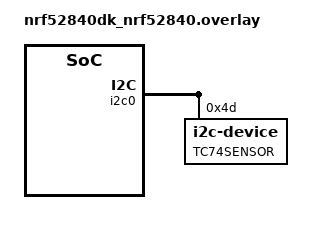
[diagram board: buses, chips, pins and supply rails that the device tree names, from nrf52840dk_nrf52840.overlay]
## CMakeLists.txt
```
cmake_minimum_required(VERSION 3.20.0)
find_package(Zephyr REQUIRED HINTS $ENV{ZEPHYR_BASE})

project(thermalcontrolproject)

target_sources(app PRIVATE 
    src/main.c
    src/uartcomm.c
    src/rtdb.c
    src/controller.c
)

target_include_directories(app PRIVATE src)
```

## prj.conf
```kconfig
# Habilita o subsistema I²C genérico
CONFIG_I2C=y

# Habilita console via UART (polling API)
CONFIG_UART_CONSOLE=y

CONFIG_PRINTK=y

# GPIO (para botões e LEDs)
CONFIG_GPIO=y
```

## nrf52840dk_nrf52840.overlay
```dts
&i2c0 {
    tc74sensor: tc74sensor@4D{
        compatible = "i2c-device";
        reg = < 0x4D >;
        label = "TC74SENSOR";
    };
};
```

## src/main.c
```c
/**
 * @file main.c
 * @brief Thermal Process Controller (versão monolítica)
 *
 * @details
 *   - Botões: liga/desliga sistema, inc/dec setpoint (atualiza RTDB)
 *   - LEDs: indicam estado ON/OFF, “normal”, “baixo” ou “alto” comparando current_temp x setpoint
 *   - Sensor TC74A0 via I²C: escreve comando RTR (0x00) e lê 1 byte (temperatura em °C), atualiza RTDB
 *   - Controlador ON/OFF: liga/desliga MOSFET (p1.12) conforme histerese ±1°C sobre setpoint
 *   - UART: permite consultar current_temp e mudar max_temp/min_temp/sampling rate/on-off via comandos “#…!”
 *
 *   Este ficheiro inicializa todas as tarefas (threads) do sistema:
 *     - UART
 *     - Controlo de botões
 *     - Controlo de LEDs
 *     - Leitura do sensor I²C
 *     - Controlador ON/OFF
 *
 * @author Nuno Tomás Gomes [98807] / Vasco Pestana [88827]
 * @date 04/06/2025
 */

 #include <zephyr/kernel.h>
 #include <zephyr/device.h>
 #include <zephyr/devicetree.h>
 #include <zephyr/drivers/gpio.h>
 #include <zephyr/drivers/i2c.h>
 #include <zephyr/drivers/pwm.h>
 #include <zephyr/sys/printk.h>
 
 #include "rtdb.h"
 #include "uartcomm.h"
 #include "controller.h"
 
 #define BTN_NODE_ONOFF   DT_ALIAS(sw0)
 #define BTN_NODE_INC     DT_ALIAS(sw1)
 #define BTN_NODE_MENU    DT_ALIAS(sw2)
 #define BTN_NODE_DEC     DT_ALIAS(sw3)
 
 #define BTN_ONOFF_DEV    DT_GPIO_CTLR(BTN_NODE_ONOFF, gpios)
 #define BTN_ONOFF_PIN    DT_GPIO_PIN(BTN_NODE_ONOFF, gpios)
 #define BTN_ONOFF_FLAGS  (DT_GPIO_FLAGS(BTN_NODE_ONOFF, gpios) | GPIO_INPUT)
 
 #define BTN_INC_DEV      DT_GPIO_CTLR(BTN_NODE_INC, gpios)
 #define BTN_INC_PIN      DT_GPIO_PIN(BTN_NODE_INC, gpios)
 #define BTN_INC_FLAGS    (DT_GPIO_FLAGS(BTN_NODE_INC, gpios) | GPIO_INPUT)
 
 #define BTN_MENU_DEV     DT_GPIO_CTLR(BTN_NODE_MENU, gpios)
 #define BTN_MENU_PIN     DT_GPIO_PIN(BTN_NODE_MENU, gpios)
 #define BTN_MENU_FLAGS   (DT_GPIO_FLAGS(BTN_NODE_MENU, gpios) | GPIO_INPUT)
 
 #define BTN_DEC_DEV      DT_GPIO_CTLR(BTN_NODE_DEC, gpios)
 #define BTN_DEC_PIN      DT_GPIO_PIN(BTN_NODE_DEC, gpios)
 #define BTN_DEC_FLAGS    (DT_GPIO_FLAGS(BTN_NODE_DEC, gpios) | GPIO_INPUT)
 
 #define DEBOUNCE_MS  50  /**< Tempo de debounce para botões (ms) */
 
 /* --------------------------------------------------------------------------
  * Callbacks de GPIO e timestamps para debounce
  * -------------------------------------------------------------------------- */
 static struct gpio_callback cb_onoff;  /**< Callback handler para SW0 (on/off) */
 static struct gpio_callback cb_inc;    /**< Callback handler para SW1 (+setpoint) */
 static struct gpio_callback cb_menu;   /**< Callback handler para SW2 (exibe menu) */
 static struct gpio_callback cb_dec;    /**< Callback handler para SW3 (-setpoint) */
 
 /**
  * @brief Imprime o menu de uso na consola (quando SW2 é pressionado)
  *
  * Detalha quais botões físicos estão associados a cada função e a convenção dos LEDs.
  */
 static void print_menu(void)
 {
     printk("\n"
            "============================================\n"
            "      CONTROLE TÉRMICO – MENU DE USO\n"
            "============================================\n"
            " Botões Físicos (painel do nRF52840DK):\n"
            "   • SW0 (P0.11): alterna sistema ligado/desligado\n"
            "   • SW1 (P0.12): incrementa setpoint (+1 °C)\n"
            "   • SW2 (P0.24): exibe este menu de ajuda\n"
            "   • SW3 (P0.25): decrementa setpoint (-1 °C)\n"
            "\n"
            " LEDs (indicadores de estado):\n"
            "   • LED0 (P0.13): indica se o sistema está ligado (LED aceso = ON)\n"
            "   • LED1 (P0.14): TEMPERATURA NORMAL (|cur – sp| ≤ 2 °C)\n"
            "   • LED2 (P0.15): TEMPERATURA ABAIXO (cur < sp – 2 °C)\n"
            "   • LED3 (P0.16): TEMPERATURA ACIMA (cur > sp + 2 °C)\n"
            "\n"
            " Comandos UART (115200, 8, n, 1):\n"
            "   • #MxxxYYY! → define max_temp (xxx = 0..999) e envia ack\n"
            "   • #mxxxYYY! → define min_temp (xxx = 0..999) e envia ack\n"
            "   • #C!       → consulta current_temp (responde #cXXXYYY!)\n"
            "   • #E0yyy!   → liga sistema e envia ack\n"
            "   • #E1yyy!   → desliga sistema e envia ack\n"
            "   • #RxxxxYYY!→ define sampling rate em ms (0000..9999)\n"
            "   • #r!       → consulta sampling rate (responde #sXXXXYYY!)\n"
            "   • #S…!      → define parâmetros do controlador (stub) e envia ack\n"
            "\n"
            " Use os botões para controlar ON/OFF e ajustar setpoint.\n"
            "============================================\n");
 }
 
 /**
  * @brief Callback do botão SW0 (ON/OFF) com lógica de debounce
  *
  * @param dev  Ponteiro para o dispositivo GPIO (não utilizado diretamente)
  * @param cb   Ponteiro para a estrutura de callback (não utilizado dentro)
  * @param pins Máscara de pinos que dispararam a interrupção (não usado)
  *
  * Alterna o valor booleano de system_on na RTDB e imprime estado atual.
  */
 static void onoff_pressed(const struct device *dev, struct gpio_callback *cb, uint32_t pins)
 {
     ARG_UNUSED(dev); ARG_UNUSED(cb); ARG_UNUSED(pins);
 
     /* Debounce: apenas aceita evento se passou mais de DEBOUNCE_MS desde o último */
     static int64_t last_onoff = 0;
     int64_t now = k_uptime_get();
     if (now - last_onoff < DEBOUNCE_MS) {
         return;
     }
     last_onoff = now;
 
     bool on = !rtdb_get_system_on();
     rtdb_set_system_on(on);
     printk("\n[Botão SW0] Sistema agora: %s\n", on ? "ON" : "OFF");
 }
 
 /**
  * @brief Callback do botão SW1 (incrementa setpoint) com debounce e verificação de max_temp
  *
  * @param dev  Ponteiro para o dispositivo GPIO (não utilizado diretamente)
  * @param cb   Ponteiro para a estrutura de callback (não utilizado dentro)
  * @param pins Máscara de pinos que dispararam a interrupção (não usado)
  *
  * Incrementa o setpoint em 1°C e impede ultrapassar max_temp. Informa via printk.
  */
 static void inc_pressed(const struct device *dev, struct gpio_callback *cb, uint32_t pins)
 {
     ARG_UNUSED(dev); ARG_UNUSED(cb); ARG_UNUSED(pins);
 
     /* Debounce */
     static int64_t last_inc = 0;
     int64_t now = k_uptime_get();
     if (now - last_inc < DEBOUNCE_MS) {
         return;
     }
     last_inc = now;
 
     int16_t tentativa = rtdb_get_setpoint() + 1;
     rtdb_set_setpoint(tentativa);
 
     int16_t real = rtdb_get_setpoint();
     int16_t mx   = rtdb_get_max_temp();
 
     if (real >= mx && tentativa > mx) {
         printk("[Botão SW1] Temperatura máxima atingida (%d °C)\n", mx);
     } else {
         printk("[Botão SW1] Setpoint incrementado para %d °C\n", real);
     }
 }
 
 /**
  * @brief Callback do botão SW2 (imprime menu) com debounce
  *
  * @param dev  Ponteiro para o dispositivo GPIO (não utilizado diretamente)
  * @param cb   Ponteiro para a estrutura de callback (não utilizado dentro)
  * @param pins Máscara de pinos que dispararam a interrupção (não usado)
  *
  * Chama a função print_menu() para mostrar instruções na consola.
  */
 static void menu_pressed(const struct device *dev, struct gpio_callback *cb, uint32_t pins)
 {
     ARG_UNUSED(dev); ARG_UNUSED(cb); ARG_UNUSED(pins);
 
     /* Debounce */
     static int64_t last_menu = 0;
     int64_t now = k_uptime_get();
     if (now - last_menu < DEBOUNCE_MS) {
         return;
     }
     last_menu = now;
 
     print_menu();
 }
 
 /**
  * @brief Callback do botão SW3 (decrementa setpoint) com debounce e verificação de min_temp
  *
  * @param dev  Ponteiro para o dispositivo GPIO (não utilizado diretamente)
  * @param cb   Ponteiro para a estrutura de callback (não utilizado dentro)
  * @param pins Máscara de pinos que dispararam a interrupção (não usado)
  *
  * Decrementa o setpoint em 1°C e impede descer abaixo de min_temp. Informa via printk.
  */
 static void dec_pressed(const struct device *dev, struct gpio_callback *cb, uint32_t pins)
 {
     ARG_UNUSED(dev); ARG_UNUSED(cb); ARG_UNUSED(pins);
 
     /* Debounce */
     static int64_t last_dec = 0;
     int64_t now = k_uptime_get();
     if (now - last_dec < DEBOUNCE_MS) {
         return;
     }
     last_dec = now;
 
     int16_t tentativa = rtdb_get_setpoint() - 1;
     rtdb_set_setpoint(tentativa);
 
     int16_t real = rtdb_get_setpoint();
     int16_t mi   = rtdb_get_min_temp();
 
     if (real <= mi && tentativa < mi) {
         printk("[Botão SW3] Temperatura mínima atingida (%d °C)\n", mi);
     } else {
         printk("[Botão SW3] Setpoint decrementado para %d °C\n", real);
     }
 }
 
 /**
  * @brief Inicializa todos os botões (SW0..SW3) com configurações de GPIO e callbacks
  *
  * Configura cada botão como entrada e ativa interrupção no flanco de subida. Liga callbacks
  * onoff_pressed, inc_pressed, menu_pressed e dec_pressed.
  */
 void button_ctrl_init(void)
 {
     const struct device *dev;
 
     /* --- SW0 (ON/OFF) --- */
     dev = DEVICE_DT_GET(BTN_ONOFF_DEV);
     __ASSERT(dev != NULL, "GPIO device for SW0 not found");
     gpio_pin_configure(dev, BTN_ONOFF_PIN, BTN_ONOFF_FLAGS);
     gpio_pin_interrupt_configure(dev, BTN_ONOFF_PIN, GPIO_INT_EDGE_TO_ACTIVE);
     gpio_init_callback(&cb_onoff, onoff_pressed, BIT(BTN_ONOFF_PIN));
     gpio_add_callback(dev, &cb_onoff);
 
     /* --- SW1 (incrementa setpoint) --- */
     dev = DEVICE_DT_GET(BTN_INC_DEV);
     __ASSERT(dev != NULL, "GPIO device for SW1 not found");
     gpio_pin_configure(dev, BTN_INC_PIN, BTN_INC_FLAGS);
     gpio_pin_interrupt_configure(dev, BTN_INC_PIN, GPIO_INT_EDGE_TO_ACTIVE);
     gpio_init_callback(&cb_inc, inc_pressed, BIT(BTN_INC_PIN));
     gpio_add_callback(dev, &cb_inc);
 
     /* --- SW2 (imprime menu) --- */
     dev = DEVICE_DT_GET(BTN_MENU_DEV);
     __ASSERT(dev != NULL, "GPIO device for SW2 not found");
     gpio_pin_configure(dev, BTN_MENU_PIN, BTN_MENU_FLAGS);
     gpio_pin_interrupt_configure(dev, BTN_MENU_PIN, GPIO_INT_EDGE_TO_ACTIVE);
     gpio_init_callback(&cb_menu, menu_pressed, BIT(BTN_MENU_PIN));
     gpio_add_callback(dev, &cb_menu);
 
     /* --- SW3 (decrementa setpoint) --- */
     dev = DEVICE_DT_GET(BTN_DEC_DEV);
     __ASSERT(dev != NULL, "GPIO device for SW3 not found");
     gpio_pin_configure(dev, BTN_DEC_PIN, BTN_DEC_FLAGS);
     gpio_pin_interrupt_configure(dev, BTN_DEC_PIN, GPIO_INT_EDGE_TO_ACTIVE);
     gpio_init_callback(&cb_dec, dec_pressed, BIT(BTN_DEC_PIN));
     gpio_add_callback(dev, &cb_dec);
 
     printk("[Init] Button control (SW0, SW1, SW2, SW3)\n");
 }
 
 /* =========================
  *  ===== LED Control =====
  * =========================
 */
 
 #define LED_NODE_ONOFF    DT_ALIAS(led0)
 #define LED_NODE_NORMAL   DT_ALIAS(led1)
 #define LED_NODE_LOW      DT_ALIAS(led2)
 #define LED_NODE_HIGH     DT_ALIAS(led3)
 
 static K_THREAD_STACK_DEFINE(led_stack, 1024);  
 static struct k_thread led_thread;               
 
 /**
  * @brief Tarefa que atualiza o estado dos LEDs em loop contínuo
  *
  * - LED0: indica se system_on está ativo
  * - LED1: temperatura “normal” (|cur – sp| ≤ 2°C)
  * - LED2: temperatura “abaixo” (cur < sp – 2°C)
  * - LED3: temperatura “acima” (cur > sp + 2°C)
  *
  * Esta função lê periodicamente (a cada 500 ms) os valores na RTDB:
  *   - system_on
  *   - current_temp
  *   - setpoint
  *
  * E define os pinos GPIO correspondentes para acender/apagar cada LED.
  *
  * @param p1  Não utilizado
  * @param p2  Não utilizado
  * @param p3  Não utilizado
  */
 static void led_task(void *p1, void *p2, void *p3)
 {
     ARG_UNUSED(p1); ARG_UNUSED(p2); ARG_UNUSED(p3);
 
     const struct device *d_onoff  = DEVICE_DT_GET(DT_GPIO_CTLR(LED_NODE_ONOFF, gpios));
     const struct device *d_normal = DEVICE_DT_GET(DT_GPIO_CTLR(LED_NODE_NORMAL, gpios));
     const struct device *d_low    = DEVICE_DT_GET(DT_GPIO_CTLR(LED_NODE_LOW, gpios));
     const struct device *d_high   = DEVICE_DT_GET(DT_GPIO_CTLR(LED_NODE_HIGH, gpios));
 
     __ASSERT(device_is_ready(d_onoff),  "LED_ONOFF não pronto");
     __ASSERT(device_is_ready(d_normal), "LED_NORMAL não pronto");
     __ASSERT(device_is_ready(d_low),    "LED_LOW não pronto");
     __ASSERT(device_is_ready(d_high),   "LED_HIGH não pronto");
 
     gpio_pin_configure(d_onoff,  DT_GPIO_PIN(LED_NODE_ONOFF, gpios),
                        GPIO_OUTPUT_INACTIVE | DT_GPIO_FLAGS(LED_NODE_ONOFF, gpios));
     gpio_pin_configure(d_normal, DT_GPIO_PIN(LED_NODE_NORMAL, gpios),
                        GPIO_OUTPUT_INACTIVE | DT_GPIO_FLAGS(LED_NODE_NORMAL, gpios));
     gpio_pin_configure(d_low,    DT_GPIO_PIN(LED_NODE_LOW, gpios),
                        GPIO_OUTPUT_INACTIVE | DT_GPIO_FLAGS(LED_NODE_LOW, gpios));
     gpio_pin_configure(d_high,   DT_GPIO_PIN(LED_NODE_HIGH, gpios),
                        GPIO_OUTPUT_INACTIVE | DT_GPIO_FLAGS(LED_NODE_HIGH, gpios));
 
     for (;;) {
         bool on = rtdb_get_system_on();
         int16_t cur = rtdb_get_current_temp();
         int16_t sp  = rtdb_get_setpoint();
 
         /* LED0: sistema ON/OFF */
         gpio_pin_set(d_onoff, DT_GPIO_PIN(LED_NODE_ONOFF, gpios), (int)on);
 
         if (!on) {
             /* se está desligado, todos os outros LEDs apagam */
             gpio_pin_set(d_normal, DT_GPIO_PIN(LED_NODE_NORMAL, gpios), 0);
             gpio_pin_set(d_low,    DT_GPIO_PIN(LED_NODE_LOW, gpios),    0);
             gpio_pin_set(d_high,   DT_GPIO_PIN(LED_NODE_HIGH, gpios),   0);
         } else {
             if (cur < sp - 2) {
                 /* temperatura muito baixa */
                 gpio_pin_set(d_low,    DT_GPIO_PIN(LED_NODE_LOW, gpios),    1);
                 gpio_pin_set(d_normal, DT_GPIO_PIN(LED_NODE_NORMAL, gpios), 0);
                 gpio_pin_set(d_high,   DT_GPIO_PIN(LED_NODE_HIGH, gpios),   0);
             } else if (cur > sp + 2) {
                 /* temperatura muito alta */
                 gpio_pin_set(d_high,   DT_GPIO_PIN(LED_NODE_HIGH, gpios),   1);
                 gpio_pin_set(d_normal, DT_GPIO_PIN(LED_NODE_NORMAL, gpios), 0);
                 gpio_pin_set(d_low,    DT_GPIO_PIN(LED_NODE_LOW, gpios),    0);
             } else {
                 /* dentro da faixa normal */
                 gpio_pin_set(d_normal, DT_GPIO_PIN(LED_NODE_NORMAL, gpios), 1);
                 gpio_pin_set(d_low,    DT_GPIO_PIN(LED_NODE_LOW, gpios),    0);
                 gpio_pin_set(d_high,   DT_GPIO_PIN(LED_NODE_HIGH, gpios),   0);
             }
         }
         k_msleep(500);
     }
 }
 
 /**
  * @brief Inicializa o controlo de LEDs criando a thread led_task
  */
 void led_ctrl_init(void)
 {
     k_thread_create(&led_thread, led_stack, K_THREAD_STACK_SIZEOF(led_stack),
                     led_task, NULL, NULL, NULL,
                     5, 0, K_NO_WAIT);
     printk("[Init] LED control\n");
 }
 
 /* ==================== Sensor TC74 via I²C ==================== */
 
 #define TC74_CMD_RTR   0x00u  
 #define I2C0_NID        DT_NODELABEL(tc74sensor)  
 
 static const struct i2c_dt_spec tc74 = I2C_DT_SPEC_GET(I2C0_NID);  
 
 static K_THREAD_STACK_DEFINE(sensor_stack, 1024);  
 static struct k_thread sensor_thread;               
 
 /**
  * @brief Tarefa que lê continuamente a temperatura do TC74 e atualiza a RTDB
  *
  *   - No arranque, envia o comando RTR (0x00) para posicionar o ponteiro
  *   - Em cada ciclo (delay = sampling_rate), escreve RTR e faz i2c_read_dt(&temp_raw,1)
  *   - Converte o byte lido (complemento a dois) para int16_t e chama rtdb_set_current_temp()
  *
  * @param p1  Não utilizado
  * @param p2  Não utilizado
  * @param p3  Não utilizado
  */
 static void sensor_task(void *p1, void *p2, void *p3)
 {
     ARG_UNUSED(p1); ARG_UNUSED(p2); ARG_UNUSED(p3);
 
     int ret;
     uint8_t cmd = TC74_CMD_RTR;
     uint8_t temp_raw;
 
     /* Primeiro, escrever “Read Temperature Register” (RTR), para posicionar o ponteiro */
     ret = i2c_write_dt(&tc74, &cmd, 1);
     if (ret != 0) {
         printk("[Sensor] falha no write RTR: %d\n", ret);
         /* Continua, mas possivelmente aponta ponteiro incorretamente */
     } else {
         printk("[Sensor] RTR enviado com sucesso\n");
     }
 
     while (1) {
         /* Antes de cada leitura, reposiciona o ponteiro para o registro de temperatura */
         cmd = TC74_CMD_RTR;
         ret = i2c_write_dt(&tc74, &cmd, 1);
         if (ret != 0) {
             printk("[Sensor] falha no write RTR (loop): %d\n", ret);
         }
 
         /* Leitura do registrador de temperatura (1 byte) */
         ret = i2c_read_dt(&tc74, &temp_raw, 1);
         if (ret == 0) {
             int16_t temp_signed = (int16_t)(int8_t)temp_raw;
             rtdb_set_current_temp(temp_signed);
             printk("[Sensor] current_temp lido = %d°C\n", temp_signed);
         } else {
             printk("[Sensor] falha no read: %d\n", ret);
         }
 
         uint32_t delay = rtdb_get_sampling_rate();
         k_msleep(delay);
     }
 }
 
 /**
  * @brief Inicializa o sensor TC74 criando a thread sensor_task
  *
  * Verifica se o barramento I²C está pronto e, se estiver, cria a thread de leitura.
  */
 static void tempsensor_init(void)
 {
     if (!device_is_ready(tc74.bus)) {
         printk("I2C bus %s não pronto\n", tc74.bus->name);
         return;
     }
     k_thread_create(&sensor_thread, sensor_stack,
                     K_THREAD_STACK_SIZEOF(sensor_stack),
                     sensor_task, NULL, NULL, NULL,
                     5, 0, K_NO_WAIT);
     printk("[Init] TC74 via I2C OK em %s, addr=0x%02x\n",
            tc74.bus->name, tc74.addr);
 }
 
 /**
  * @brief Função principal (entry point) do firmware
  *
  *   - Exibe menu inicial
  *   - Inicializa todas as tarefas do sistema:
  *       • uart_comm_init(): thread de comunicação UART
  *       • button_ctrl_init(): configuração de botões e callbacks
  *       • led_ctrl_init(): thread de controlo de LEDs
  *       • tempsensor_init(): thread de leitura do sensor I²C
  *       • controller_init(): thread do controlador ON/OFF do aquecedor
  *
  * @return Nunca retorna (ainda que a função devolva 0, o Zephyr mantém as threads vivas)
  */
 int main(void)
 {
     print_menu();
 
     uart_comm_init();
     button_ctrl_init();
     led_ctrl_init();
     tempsensor_init();
     controller_init();
 
     return 0;
 }
 
```

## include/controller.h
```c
#ifndef CONTROLLER_H
#define CONTROLLER_H

/**
 * @file controller.h
 * @brief On/off controller interface for thermal process
 * @details Provides initialization of the hysteresis-based heater controller
 */

/**
 * @brief Initialize the on/off heater controller
 *
 * This function spawns a Zephyr thread that periodically reads the setpoint and
 * current temperature from the RTDB and drives the heater via PWM with hysteresis.
 */
void controller_init(void);

#endif /* CONTROLLER_H */
```

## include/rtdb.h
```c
#ifndef RTDB_H
#define RTDB_H

#include <stdint.h>
#include <stdbool.h>

typedef struct {
    bool    system_on;
    int16_t setpoint;
    int16_t current_temp;
    int16_t max_temp;
    int16_t min_temp;
} rtdb_t;

bool    rtdb_get_system_on(void);
void    rtdb_set_system_on(bool on);

int16_t rtdb_get_setpoint(void);
void    rtdb_set_setpoint(int16_t val);

int16_t rtdb_get_current_temp(void);
void    rtdb_set_current_temp(int16_t val);

int16_t rtdb_get_max_temp(void);
void    rtdb_set_max_temp(int16_t val);

int16_t rtdb_get_min_temp(void);
void    rtdb_set_min_temp(int16_t val);

#endif /* RTDB_H */
```

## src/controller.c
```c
/**
 * @file controller.c
 * @brief On/Off controller para processo térmico
 *
 * @details
 *   - Lê setpoint e current_temp da RTDB
 *   - Controla um MOSFET (porta P1.12) com histerese ±1 °C
 *   - Quando sistema está desligado (system_on = false), garante que o aquecedor fique OFF
 *
 *   O MOSFET é assumido como “active-low” (nível lógico 0 = heater ON, 1 = heater OFF).
 */

 #include "controller.h"
 #include "rtdb.h"
 #include <zephyr/kernel.h>
 #include <zephyr/device.h>
 #include <zephyr/drivers/gpio.h>
 #include <zephyr/sys/printk.h>
 
 #define HEATER_GPIO_NODE DT_NODELABEL(gpio1)  
 #define HEATER_PIN       12U                  /* P1.12 ligado à porta do MOSFET */
 
 static const struct device *heater_dev; 
 static K_THREAD_STACK_DEFINE(ctrl_stack, 1024);  
 static struct k_thread ctrl_thread;              
 
 /**
  * @brief Lógica de controlo On/Off com histerese ±1°C
  *
  * Quando o sistema está desligado (system_on == false), o aquecedor é forçado a OFF.
  * Caso contrário:
  *   - Se current_temp ≤ setpoint − 1°C → liga aquecedor
  *   - Se current_temp ≥ setpoint + 1°C → desliga aquecedor
  *   - Se estiver entre (setpoint − 1, setpoint + 1) mantém o estado anterior
  *
  * @param p1  Não utilizado
  * @param p2  Não utilizado
  * @param p3  Não utilizado
  */
 static void control_task(void *p1, void *p2, void *p3)
 {
     ARG_UNUSED(p1);
     ARG_UNUSED(p2);
     ARG_UNUSED(p3);
 
     bool heater = false;  /* Estado atual do aquecedor */
 
     for (;;)
     {
         bool system_on = rtdb_get_system_on();
         int16_t sp     = rtdb_get_setpoint();
         int16_t cur    = rtdb_get_current_temp();
 
         if (!system_on) {
             /* Se o sistema estiver desligado, garante que aquecedor fique desligado */
             heater = false;
         } else {
             /* Histerese ±1°C em torno do setpoint */
             if (cur <= sp - 1) {
                 heater = false;
             } else if (cur >= sp + 1) {
                 heater = true;
             }
             /* Caso contrário (entre sp-1 e sp+1), mantém heater_on inalterado */
         }
 
         /* Active-low gate: 0 = ON, 1 = OFF */
         gpio_pin_set(heater_dev, HEATER_PIN, heater ? 0 : 1);
 
         printk("[Ctrl] sp=%d°C cur=%d°C heater=%s\n",
                sp, cur, heater ? "OFF" : "ON");
 
         k_sleep(K_MSEC(2000));
     }
 }
 
 /**
  * @brief Inicializa o controlador ON/OFF
  *
  *   - Obtém o dispositivo GPIO (P1.12) para o MOSFET
  *   - Configura P1.12 como saída com nível alto (heater OFF)
  *   - Cria a thread control_task com prioridade 5
  */
 void controller_init(void)
 {
     heater_dev = DEVICE_DT_GET(HEATER_GPIO_NODE);
     __ASSERT(heater_dev != NULL, "Heater GPIO device not found");
     if (!device_is_ready(heater_dev)) {
         printk("[Ctrl] Heater GPIO não pronto\n");
         return;
     }
 
     /* Configura P1.12 como saída, nível alto (desliga o heater) */
     gpio_pin_configure(heater_dev, HEATER_PIN, GPIO_OUTPUT_INACTIVE);
     gpio_pin_set(heater_dev, HEATER_PIN, 1);
 
     /* Lança a thread de controlo */
     k_thread_create(&ctrl_thread, ctrl_stack, K_THREAD_STACK_SIZEOF(ctrl_stack),
                     control_task, NULL, NULL, NULL,
                     5, 0, K_NO_WAIT);
     printk("[Init] Controller\n");
 }
 
```

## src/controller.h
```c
#ifndef CONTROLLER_H
#define CONTROLLER_H

/**
 * @file controller.h
 * @brief Interface do controlador On/Off para processo térmico
 *
 * @details
 *   Proporciona a função controller_init(), que cria uma thread responsável
 *   por ler o setpoint e a temperatura atual da RTDB e controlar um MOSFET
 *   com histerese ±1°C.
 */

/**
 * @brief Inicializa o on/off heater controller
 *
 * Esta função:
 *   1. Lê o nó DT “gpio1” e configura o pino P1.12 como saída (nível alto = heater OFF).
 *   2. Cria uma thread (priority=5, stack=1KB) que roda control_task() ciclicamente.
 */
void controller_init(void);

#endif /* CONTROLLER_H */
```

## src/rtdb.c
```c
/**
 * @file rtdb.c
 * @brief Real-Time Database (RTDB) para o controlador térmico
 *
 * @details
 *   Esta implementação mantém um conjunto de variáveis de estado e configuração
 *   que são partilhadas entre várias threads:
 *     - system_on       (bool): sistema ligado/desligado
 *     - setpoint        (int16): temperatura alvo (°C)
 *     - current_temp    (int16): temperatura lida do sensor (°C)
 *     - max_temp        (int16): temperatura máxima permitida (°C)
 *     - min_temp        (int16): temperatura mínima permitida (°C)
 *     - sampling_rate_ms(uint32): intervalo de amostragem do sensor (ms)
 *
 *   Todas as funções de acesso à RTDB (getters e setters) protegem a região crítica
 *   usando um mutex (k_mutex). O mutex é inicializado via SYS_INIT() logo no arranque.
 *
 * @note
 *   - setpoint nunca ultrapassa max_temp nem fica abaixo de min_temp.
 *   - min_temp e max_temp atualizam o setpoint caso este fique fora dos limites.
 */

 #include "rtdb.h"
 #include <zephyr/kernel.h>
 
 /**
  * @brief Estrutura interna que guarda todos os valores do RTDB
  */
 static rtdb_t g_rtdb = {
     .system_on        = true,    /* Inicialmente, sistema ligado */
     .setpoint         = 26,      /* Setpoint padrão: 26°C */
     .current_temp     = 0,       /* Temperatura inicial (valor dummy) */
     .max_temp         = 80,      /* Valor máximo inicial: 80°C */
     .min_temp         = 20,      /* Valor mínimo inicial: 20°C */
     .sampling_rate_ms = 1000     /* Intervalo de 1 segundo */
 };
 
 static struct k_mutex rtdb_mutex; 
 
 /**
  * @brief Inicializa o mutex do RTDB antes de qualquer acesso
  *
  * Chamado automaticamente pela macro SYS_INIT(), no nível APPLICATION.
  *
  * @param dev  Ponteiro para dispositivo (não utilizado)
  * @return     0 sempre
  */
 static int rtdb_mutex_init(const struct device *dev)
 {
     ARG_UNUSED(dev);
     k_mutex_init(&rtdb_mutex);
     return 0;
 }
 SYS_INIT(rtdb_mutex_init, APPLICATION, CONFIG_APPLICATION_INIT_PRIORITY);
 
 /**
  * @brief Lê o valor de system_on (protected by mutex)
  *
  * @return true se sistema ligado, false se desligado
  */
 bool rtdb_get_system_on(void)
 {
     bool v;
     k_mutex_lock(&rtdb_mutex, K_FOREVER);
     v = g_rtdb.system_on;
     k_mutex_unlock(&rtdb_mutex);
     return v;
 }
 
 /**
  * @brief Atualiza o valor de system_on (protected by mutex)
  *
  * @param on  true para ligar sistema, false para desligar
  */
 void rtdb_set_system_on(bool on)
 {
     k_mutex_lock(&rtdb_mutex, K_FOREVER);
     g_rtdb.system_on = on;
     k_mutex_unlock(&rtdb_mutex);
 }
 
 /**
  * @brief Lê o setpoint atual (protected by mutex)
  *
  * @return Setpoint (°C)
  */
 int16_t rtdb_get_setpoint(void)
 {
     int16_t v;
     k_mutex_lock(&rtdb_mutex, K_FOREVER);
     v = g_rtdb.setpoint;
     k_mutex_unlock(&rtdb_mutex);
     return v;
 }
 
 /**
  * @brief Atualiza o setpoint, limitando entre min_temp e max_temp (protected by mutex)
  *
  * @param val  Novo valor de setpoint (°C)
  */
 void rtdb_set_setpoint(int16_t val)
 {
     k_mutex_lock(&rtdb_mutex, K_FOREVER);
     if (val > g_rtdb.max_temp) {
         g_rtdb.setpoint = g_rtdb.max_temp;
     } else if (val < g_rtdb.min_temp) {
         g_rtdb.setpoint = g_rtdb.min_temp;
     } else {
         g_rtdb.setpoint = val;
     }
     k_mutex_unlock(&rtdb_mutex);
 }
 
 /**
  * @brief Lê a temperatura atual (protected by mutex)
  *
  * @return current_temp (°C)
  */
 int16_t rtdb_get_current_temp(void)
 {
     int16_t v;
     k_mutex_lock(&rtdb_mutex, K_FOREVER);
     v = g_rtdb.current_temp;
     k_mutex_unlock(&rtdb_mutex);
     return v;
 }
 
 /**
  * @brief Atualiza current_temp (protected by mutex)
  *
  * @param val  Valor de temperatura lido do sensor (°C, complemento a dois)
  */
 void rtdb_set_current_temp(int16_t val)
 {
     k_mutex_lock(&rtdb_mutex, K_FOREVER);
     g_rtdb.current_temp = val;
     k_mutex_unlock(&rtdb_mutex);
 }
 
 /**
  * @brief Lê max_temp (protected by mutex)
  *
  * @return max_temp (°C)
  */
 int16_t rtdb_get_max_temp(void)
 {
     int16_t v;
     k_mutex_lock(&rtdb_mutex, K_FOREVER);
     v = g_rtdb.max_temp;
     k_mutex_unlock(&rtdb_mutex);
     return v;
 }
 
 /**
  * @brief Atualiza max_temp; ajusta setpoint se estiver acima de max_temp (protected by mutex)
  *
  * @param val  Novo valor máximo permitido (°C)
  */
 void rtdb_set_max_temp(int16_t val)
 {
     k_mutex_lock(&rtdb_mutex, K_FOREVER);
     g_rtdb.max_temp = val;
     if (g_rtdb.setpoint > g_rtdb.max_temp) {
         g_rtdb.setpoint = g_rtdb.max_temp;
     }
     k_mutex_unlock(&rtdb_mutex);
 }
 
 /**
  * @brief Lê min_temp (protected by mutex)
  *
  * @return min_temp (°C)
  */
 int16_t rtdb_get_min_temp(void)
 {
     int16_t v;
     k_mutex_lock(&rtdb_mutex, K_FOREVER);
     v = g_rtdb.min_temp;
     k_mutex_unlock(&rtdb_mutex);
     return v;
 }
 
 /**
  * @brief Atualiza min_temp; ajusta setpoint se estiver abaixo de min_temp (protected by mutex)
  *
  * @param val  Novo valor mínimo permitido (°C)
  */
 void rtdb_set_min_temp(int16_t val)
 {
     k_mutex_lock(&rtdb_mutex, K_FOREVER);
     g_rtdb.min_temp = val;
     if (g_rtdb.setpoint < g_rtdb.min_temp) {
         g_rtdb.setpoint = g_rtdb.min_temp;
     }
     k_mutex_unlock(&rtdb_mutex);
 }
 
 /**
  * @brief Lê sampling_rate_ms (protected by mutex)
  *
  * @return Intervalo de amostragem em milissegundos
  */
 uint32_t rtdb_get_sampling_rate(void)
 {
     uint32_t v;
     k_mutex_lock(&rtdb_mutex, K_FOREVER);
     v = g_rtdb.sampling_rate_ms;
     k_mutex_unlock(&rtdb_mutex);
     return v;
 }
 
 /**
  * @brief Atualiza sampling_rate_ms, limitando entre 10 ms e 60000 ms (protected by mutex)
  *
  * @param ms  Novo intervalo de amostragem em milissegundos
  */
 void rtdb_set_sampling_rate(uint32_t ms)
 {
     k_mutex_lock(&rtdb_mutex, K_FOREVER);
 
     if (ms < 10) {
         g_rtdb.sampling_rate_ms = 10;
     } else if (ms > 60000) {
         g_rtdb.sampling_rate_ms = 60000;
     } else {
         g_rtdb.sampling_rate_ms = ms;
     }
     k_mutex_unlock(&rtdb_mutex);
 }
```

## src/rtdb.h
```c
#ifndef RTDB_H
#define RTDB_H

#include <stdint.h>
#include <stdbool.h>

/**
 * @file rtdb.h
 * @brief Protótipos do Real-Time Database (RTDB) para o controlador térmico
 *
 * @details
 *   Este ficheiro define a estrutura rtdb_t e as funções de acesso (getters/setters)
 *   protegidas por mutex, de modo a permitir comunicação segura entre várias tasks.
 */

/**
 * @brief Estrutura que contém todas as variáveis compartilhadas no sistema
 */
typedef struct {
    bool    system_on;         /* Sistema ligado/desligado */
    int16_t setpoint;          /* Temperatura alvo (°C) */
    int16_t current_temp;      /* Temperatura lida do sensor (°C) */
    int16_t max_temp;          /* Temperatura máxima permitida (°C) */
    int16_t min_temp;          /* Temperatura mínima permitida (°C) */
    uint32_t sampling_rate_ms; /* Intervalo de amostragem em ms */
} rtdb_t;

/**
 * @brief Lê se o sistema está ligado ou não
 * @return true se ligado, false se desligado
 */
bool    rtdb_get_system_on(void);

/**
 * @brief Altera o estado do sistema (ligado/desligado)
 * @param on  true para ligar, false para desligar
 */
void    rtdb_set_system_on(bool on);

/**
 * @brief Lê o setpoint atual (°C)
 * @return Valor do setpoint (°C)
 */
int16_t rtdb_get_setpoint(void);

/**
 * @brief Define um novo setpoint, validando entre min_temp e max_temp
 * @param val  Valor de setpoint desejado (°C)
 */
void    rtdb_set_setpoint(int16_t val);

/**
 * @brief Lê a temperatura atual lida do sensor (°C)
 * @return Valor de current_temp (°C)
 */
int16_t rtdb_get_current_temp(void);

/**
 * @brief Atualiza a temperatura atual (°C)
 * @param val  Valor lido do sensor (°C)
 */
void    rtdb_set_current_temp(int16_t val);

/**
 * @brief Lê o valor de temperatura máxima permitida (°C)
 * @return max_temp (°C)
 */
int16_t rtdb_get_max_temp(void);

/**
 * @brief Define um novo valor de temperatura máxima, ajustando setpoint se necessário
 * @param val  Valor máximo permitido (°C)
 */
void    rtdb_set_max_temp(int16_t val);

/**
 * @brief Lê o valor de temperatura mínima permitida (°C)
 * @return min_temp (°C)
 */
int16_t rtdb_get_min_temp(void);

/**
 * @brief Define um novo valor de temperatura mínima, ajustando setpoint se necessário
 * @param val  Valor mínimo permitido (°C)
 */
void    rtdb_set_min_temp(int16_t val);

/**
 * @brief Lê o intervalo de amostragem do sensor (ms)
 * @return sampling_rate_ms
 */
uint32_t rtdb_get_sampling_rate(void);

/**
 * @brief Define o intervalo de amostragem do sensor (limitado a 10..60000 ms)
 * @param ms  Novo intervalo em milissegundos
 */
void     rtdb_set_sampling_rate(uint32_t ms);

#endif /* RTDB_H */
```

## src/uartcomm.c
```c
/**
 * @file uartcomm.c
 * @brief Módulo de comunicação UART: parser de frames e framing
 *
 * @details
 *   - Usa polling da UART (uart_poll_in/uart_poll_out) para receber bytes.
 *   - Implementa framing: “# <CMD> <DATA ASCII> <CS(3 dígitos)> !”
 *   - Verifica framing e checksum. Envia acknowledgment via send_ack() ou resposta de consulta.
 *   - Suporta os seguintes comandos:
 *       • #MxxxYYY! → set max_temp (3 dígitos); envia ACK 'o' ou 'i'
 *       • #mxxxYYY! → set min_temp (3 dígitos); envia ACK 'o' ou 'i'
 *       • #C!       → get current_temp; envia #cXXXYYY!
 *       • #RxxxxYYY!→ set sampling_rate (4 dígitos); envia ACK 'o' ou 'i'
 *       • #r!       → get sampling_rate; envia #sXXXXYYY!
 *       • #E0!/#E1! → liga/desliga sistema; envia ACK 'o' ou 'i'
 *       • #S…!      → set parâmetros do controlador (stub); envia ACK 'o' ou 'i'
 *
 *   - Erros:
 *       • framing error → ACK com código 'f'
 *       • checksum error → ACK com código 's'
 *       • invalid command → ACK com código 'i'
 */

 #include "uartcomm.h"
 #include "rtdb.h"
 #include <zephyr/kernel.h>
 #include <zephyr/device.h>
 #include <zephyr/drivers/uart.h>
 #include <zephyr/sys/printk.h>
 #include <stdlib.h>
 #include <stddef.h>
 #include <stdint.h>
 
 #define UART_STACK_SIZE 1024U  
 #define UART_PRIORITY   5U     /**< Prioridade da thread UART */
 #define UART_BUF_SIZE   64U    /**< Tamanho do buffer de receção de bytes */
 
 /**
  * @brief Calcula checksum (módulo-256) sobre os len primeiros bytes de buf
  *
  * @param buf   Array de bytes a considerar (CMD + DATA)
  * @param len   Número de bytes a considerar no cálculo
  * @return      Checksum (soma & 0xFF) em uint8_t
  */
 static uint8_t calculate_checksum(const uint8_t *buf, size_t len);
 
 /**
  * @brief Envia raw bytes pela UART usando polling
  *
  * @param dev   Dispositivo UART
  * @param data  Ponteiro para array de bytes
  * @param len   Número de bytes a enviar
  */
 static void send_bytes(const struct device *dev, const uint8_t *data, size_t len);
 
 /**
  * @brief Constroi e envia um frame pela UART:
  *        # <cmd> <data ASCII> <CS(3 dígitos)> !
  *
  * @param dev       Dispositivo UART
  * @param cmd       Carácter de comando (e.g. 'E', 'c', 'M', 'm', etc.)
  * @param data      Ponteiro para string ASCII contendo o payload (sem '\0')
  * @param data_len  Comprimento de data (número de bytes ASCII)
  */
 static void send_frame(const struct device *dev, char cmd, const char *data, size_t data_len);
 
 /**
  * @brief Envia um ACK simples pela UART: #E<code>!
  *
  * @param dev   Dispositivo UART
  * @param code  'o' = OK, 'f' = framing error, 's' = checksum error, 'i' = invalid
  */
 static void send_ack(const struct device *dev, char code);
 
 /**
  * @brief Trata um frame completo recebido em buf[0..len-1], onde buf[0]=='#' e buf[len-1]=='!'
  *
  *  - CMD = buf[1]
  *  - DATA = buf[2..(2+data_len-1)]
  *  - CS_str = buf[len-4..len-2] (3 dígitos ASCII)
  *  - data_len = len - 6   (descarta '#', CMD, CS(3), '!')
  *
  *  Suporta:
  *   - 'M': #MxxxYYY!  → set max_temp
  *   - 'm': #mxxxYYY!  → set min_temp
  *   - 'C': #C!        → consulta current_temp
  *   - 'R': #RxxxxYYY! → set sampling_rate (4 dígitos)
  *   - 'r': #r!        → get sampling_rate (4 dígitos)
  *   - 'E': #E0!/#E1!  → liga/desliga sistema
  *   - 'S': #S…!       → set parâmetros do controlador (stub)
  *
  *  Em caso de:
  *   - framing error → envia send_ack(dev, 'f')
  *   - invalid command → envia send_ack(dev, 'i')
  *   - checksum error → envia send_ack(dev, 's')
  *
  *  Se houver mais de um erro (p.ex. checksum e inválido), envia ambos: primeiro 's', depois 'i'.
  *
  * @param dev   Dispositivo UART
  * @param buf   Buffer que contém o frame completo
  * @param len   Comprimento do frame (bytes)
  */
 static void handle_command(const struct device *dev, const uint8_t *buf, size_t len);
 
 /**
  * @brief Thread de polling na UART que enquadra bytes recebidos e chama handle_command()
  *
  *   - Lê bytes um a um via uart_poll_in()
  *   - Implementa máquina de estados simples:
  *       1) Ignora CR/LF fora de frame
  *       2) Se recebe '!' sem ter visto '#' primeiro → framing error
  *       3) Se recebe '#' dentro de frame não fechado → framing error no frame anterior
  *       4) Se '#' e idx==0 → começa novo frame
  *       5) Enquanto idx>0, acumula bytes até encontrar '!' ou encher buffer
  *       6) Se encher buffer sem '!' → framing error
  *
  *   - Se encontra '!' dentro de frame, chama handle_command(uart_dev, buf, idx)
  *
  * @param p1  Não utilizado
  * @param p2  Não utilizado
  * @param p3  Não utilizado
  */
 static void uart_task(void *p1, void *p2, void *p3);
 
 K_THREAD_STACK_DEFINE(uart_stack, UART_STACK_SIZE); 
 static struct k_thread uart_thread_data;             
 
 /**
  * @brief Inicializa a comunicação UART criando a thread uart_task()
  */
 void uart_comm_init(void)
 {
     k_thread_create(&uart_thread_data, uart_stack, UART_STACK_SIZE,
                     uart_task, NULL, NULL, NULL,
                     UART_PRIORITY, 0, K_NO_WAIT);
 }
 
 static uint8_t calculate_checksum(const uint8_t *buf, size_t len)
 {
     uint16_t sum = 0U;
     for (size_t i = 0U; i < len; i++) {
         sum += buf[i];
     }
     return (uint8_t)(sum & 0xFFU);
 }
 
 static void send_bytes(const struct device *dev, const uint8_t *data, size_t len)
 {
     for (size_t i = 0U; i < len; i++) {
         uart_poll_out(dev, data[i]);
     }
 }
 
 static void send_frame(const struct device *dev, char cmd, const char *data, size_t data_len)
 {
     /* 1 byte ('#') + 1 byte(cmd) + data_len + 3 bytes(checksum) + 1 byte('!') */
     uint8_t frame[1U + 1U + UART_BUF_SIZE + 3U + 1U];
     size_t  pos = 0U;
 
     frame[pos++] = '#';
     frame[pos++] = (uint8_t)cmd;
     for (size_t i = 0U; i < data_len; i++) {
         frame[pos++] = (uint8_t)data[i];
     }
     /* Calcula checksum [CMD] + [DATA] */
     uint8_t cs = calculate_checksum(&frame[1], 1U + data_len);
     /* Converte checksum para 3 dígitos ASCII */
     frame[pos++] = '0' + (uint8_t)((cs / 100U) % 10U);
     frame[pos++] = '0' + (uint8_t)((cs / 10U) % 10U);
     frame[pos++] = '0' + (uint8_t)(cs % 10U);
 
     frame[pos++] = '!';
     send_bytes(dev, frame, pos);
 }
 
 static void send_ack(const struct device *dev, char code)
 {
     /* ACK genérico: #E<code>! */
     send_frame(dev, 'E', &code, 1U);
 }
 
 static void handle_command(const struct device *dev, const uint8_t *buf, size_t len)
 {
     /* Tamanho mínimo = 6 bytes: # + CMD + CS(3) + ! */
     if (len < 6U) {
         send_ack(dev, 'f');  /* framing error */
         return;
     }
     /* Verifica '#' no início e '!' no fim */
     if ((buf[0] != '#') || (buf[len - 1] != '!')) {
         send_ack(dev, 'f');
         return;
     }
     /* Extrai CMD */
     char cmd = (char)buf[1];
 
     /* Extrai checksum recebido (3 dígitos ASCII) */
     char cs_str[4] = {
         (char)buf[len - 4],
         (char)buf[len - 3],
         (char)buf[len - 2],
         '\0'
     };
     uint8_t cs_rcv = (uint8_t)atoi(cs_str);
 
     /* Determina tamanho de DATA */
     size_t data_len = len - 6U;  /* retira '#', CMD, CS(3), '!' */
     const uint8_t *data_ptr = &buf[2];
 
     /* Verifica se o comando é reconhecido */
     bool cmd_valido = (cmd == 'M') || (cmd == 'm') || (cmd == 'C') ||
                       (cmd == 'R') || (cmd == 'r') || (cmd == 'E') || (cmd == 'S');
     if (!cmd_valido) {
         /* Comando desconhecido: compara checksum isolado de CMD */
         uint8_t cs_cmd = (uint8_t)cmd;
         if (cs_cmd != cs_rcv) {
             send_ack(dev, 's');  /* checksum error */
             send_ack(dev, 'i');  /* invalid command */
         } else {
             send_ack(dev, 'i');  
         }
         return;
     }
 
     /* Verifica checksum completo [CMD + DATA] */
     uint8_t cs_calc = calculate_checksum((const uint8_t *)&buf[1], 1U + data_len);
     if (cs_calc != cs_rcv) {
         send_ack(dev, 's');  /* checksum error */
         return;
     }
 
     switch (cmd) {
         case 'M': {  /* #MxxxYYY! → set max temperature */
             if (data_len != 3U) {
                 send_ack(dev, 'i');
             } else {
                 char tmp[4] = {
                     (char)data_ptr[0],
                     (char)data_ptr[1],
                     (char)data_ptr[2],
                     '\0'
                 };
                 int val = atoi(tmp);
                 if (val < rtdb_get_min_temp()) {
                     /* Não permitir max < min */
                     send_ack(dev, 'i');
                 } else {
                     rtdb_set_max_temp((int16_t)val);
                     printk("[UART] max_temp atualizado para %d°C\n", val);
                     send_ack(dev, 'o');
                 }
             }
             break;
         }
         case 'm': {  /* #mxxxYYY! → set min temperature */
             if (data_len != 3U) {
                 send_ack(dev, 'i');
             } else {
                 char tmp[4] = {
                     (char)data_ptr[0],
                     (char)data_ptr[1],
                     (char)data_ptr[2],
                     '\0'
                 };
                 int val = atoi(tmp);
                 if (val > rtdb_get_max_temp()) {
                     /* Não permitir min > max */
                     send_ack(dev, 'i');
                 } else {
                     rtdb_set_min_temp((int16_t)val);
                     printk("[UART] min_temp atualizado para %d°C\n", val);
                     send_ack(dev, 'o');
                 }
             }
             break;
         }
         case 'C': {  /* #C! → consulta current temperature */
             int cur = rtdb_get_current_temp();
             /* Limita a 0..999 para caber em 3 dígitos */
             if (cur < 0) {
                 cur = 0;
             } else if (cur > 999) {
                 cur = 999;
             }
             char out[4] = {
                 (char)('0' + (cur / 100)),
                 (char)('0' + ((cur / 10) % 10)),
                 (char)('0' + (cur % 10)),
                 '\0'
             };
             send_frame(dev, 'c', out, 3U);
             break;
         }
         case 'R': {  /* #RxxxxYYY! → set samplingRate em ms (0000..9999) */
             if (data_len != 4U) {
                 send_ack(dev, 'i');
             } else {
                 char tmp[5] = {
                     (char)data_ptr[0],
                     (char)data_ptr[1],
                     (char)data_ptr[2],
                     (char)data_ptr[3],
                     '\0'
                 };
                 int val = atoi(tmp);
                 if (val < 10 || val > 9999) {
                     send_ack(dev, 'i');
                 } else {
                     rtdb_set_sampling_rate((uint32_t)val);
                     printk("[UART] sampling_rate atualizado para %d ms\n", val);
                     send_ack(dev, 'o');
                 }
             }
             break;
         }
         case 'r': {  /* #r! → get samplingRate (4 dígitos) */
             if (data_len != 0U) {
                 send_ack(dev, 'i');
             } else {
                 uint32_t sr = rtdb_get_sampling_rate();
                 if (sr > 9999U) {
                     sr = 9999U;
                 }
                 char out[5] = {
                     (char)('0' + ((sr / 1000) % 10)),
                     (char)('0' + ((sr / 100)  % 10)),
                     (char)('0' + ((sr / 10)   % 10)),
                     (char)('0' + (sr % 10)),
                     '\0'
                 };
                 send_frame(dev, 's', out, 4U);
             }
             break;
         }
         case 'E': {  /* #E0! → liga sistema; #E1! → desliga sistema */
             if (data_len != 1U) {
                 send_ack(dev, 'i');
             } else {
                 char c = (char)data_ptr[0];
                 if (c == '0') {
                     rtdb_set_system_on(true);
                     printk("[UART] Sistema ligado via comando #E0\n");
                     send_ack(dev, 'o');
                 } else if (c == '1') {
                     rtdb_set_system_on(false);
                     printk("[UART] Sistema desligado via comando #E1\n");
                     send_ack(dev, 'o');
                 } else {
                     /* Payload diferente de '0' ou '1' → invalid */
                     send_ack(dev, 'i');
                 }
             }
             break;
         }
         case 'S': {  /* #Sxxx...xxxYYY! → set controller parameters */
             if (data_len < 1U) {
                 send_ack(dev, 'i');
             } else {
                 printk("[UART] parâmetros do controlador atualizados (DATA_len=%u)\n",
                        (unsigned)data_len);
                 send_ack(dev, 'o');
             }
             break;
         }
         default:
             /* Nunca deve chegar aqui */
             send_ack(dev, 'i');
             break;
     }
 }
 
 static void uart_task(void *p1, void *p2, void *p3)
 {
     ARG_UNUSED(p1);
     ARG_UNUSED(p2);
     ARG_UNUSED(p3);
 
     const struct device *uart_dev = DEVICE_DT_GET(DT_CHOSEN(zephyr_console));
     if (!device_is_ready(uart_dev)) {
         printk("UART not ready\n");
         return;
     }
 
     uint8_t buf[UART_BUF_SIZE];
     size_t  idx = 0U;
     uint8_t byte;
 
     for (;;) {
         if (uart_poll_in(uart_dev, &byte) == 0) {
 
             if ((byte == '\r') || (byte == '\n')) {
                 continue;  /* descarta CR/LF antes de começar/continuar um frame */
             }
 
             /* Se byte == '!' e idx == 0 → framing error imediato */
             if ((byte == '!') && (idx == 0U)) {
                 send_ack(uart_dev, 'f');
                 continue;
             }
 
             /* Se byte == '#' e idx > 0 → framing error no frame anterior */
             if ((byte == '#') && (idx > 0U)) {
                 send_ack(uart_dev, 'f');
                 idx = 0U;
                 buf[idx++] = '#';
                 continue;
             }
 
             /* Se ENTER no meio de frame (idx > 0) → framing error */
             if (((byte == '\n') || (byte == '\r')) && (idx > 0U)) {
                 send_ack(uart_dev, 'f');
                 idx = 0U;
                 continue;
             }
 
             /* Se for '#' e idx == 0 → começa novo frame */
             if (byte == '#') {
                 idx = 0U;
                 buf[idx++] = byte;
                 continue;
             }
 
             /* Se dentro de um frame (idx > 0), acumula bytes até achar '!' ou encher buffer */
             if (idx > 0U) {
                 buf[idx++] = byte;
 
                 /* Se for '!' → fim de frame */
                 if (byte == '!') {
                     handle_command(uart_dev, buf, idx);
                     idx = 0U;
                     continue;
                 }
 
                 /* Se buffer encheu sem ver '!' → framing error */
                 if (idx >= UART_BUF_SIZE) {
                     send_ack(uart_dev, 'f');
                     idx = 0U;
                     continue;
                 }
 
                 /* Senão, continua a acumular bytes do frame */
                 continue;
             }
 
             /* 6) Qualquer outro byte fora de frame (idx==0 e não é nem '!' nem '#') → ignora */
         }
 
         k_sleep(K_MSEC(10));
     }
 }
 
```

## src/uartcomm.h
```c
#ifndef UARTCOMM_H
#define UARTCOMM_H

#include <zephyr/device.h>

/**
 * @file uartcomm.h
 * @brief Interface do módulo de comunicação UART (parser de comandos + framing)
 *
 * @details
 *   Este header exporta apenas a função uart_comm_init(), que inicia uma thread
 *   responsável por ler bytes da UART em modo polling, reconstituir frames do
 *   tipo “#<CMD><DATA><CS>!” e disparar o tratamento de cada comando.
 */

/**
 * @brief Inicializa a thread de comunicação UART
 *
 * Cria uma thread de prioridade 5 que roda uart_task(), fazendo polling da UART,
 * montando e validando frames, e chamando internamente handle_command() para processar
 * cada comando recebido.
 */
void uart_comm_init(void);

#endif /* UARTCOMM_H */
```
